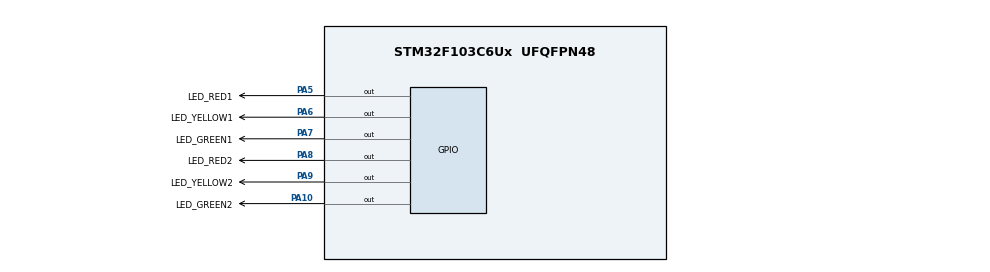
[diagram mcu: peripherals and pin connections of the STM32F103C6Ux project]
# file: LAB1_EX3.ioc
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Mcu.Family=STM32F1
Mcu.Name=STM32F103C6Ux
Mcu.Package=UFQFPN48
NVIC.PriorityGroup=NVIC_PRIORITYGROUP_4
PA10.GPIO_Label=LED_GREEN2
PA10.Signal=GPIO_Output
PA5.GPIO_Label=LED_RED1
PA5.Signal=GPIO_Output
PA6.GPIO_Label=LED_YELLOW1
PA6.Signal=GPIO_Output
PA7.GPIO_Label=LED_GREEN1
PA7.Signal=GPIO_Output
PA8.GPIO_Label=LED_RED2
PA8.Signal=GPIO_Output
PA9.GPIO_Label=LED_YELLOW2
PA9.Signal=GPIO_Output
ProjectManager.HeapSize=0x200
ProjectManager.StackSize=0x400
ProjectManager.TargetToolchain=STM32CubeIDE
RCC.APB1Freq_Value=8000000
RCC.APB2Freq_Value=8000000
VP_SYS_VS_ND.Mode=No_Debug
board=custom

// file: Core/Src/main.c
/* USER CODE BEGIN Header */
/**
  ******************************************************************************
  * @file           : main.c
  * @brief          : Main program body
  ******************************************************************************
  * @attention
  *
  * <h2><center>&copy; Copyright (c) 2024 STMicroelectronics.
  * All rights reserved.</center></h2>
  *
  * This software component is licensed by ST under BSD 3-Clause license,
  * the "License"; You may not use this file except in compliance with the
  * License. You may obtain a copy of the License at:
  *                        opensource.org/licenses/BSD-3-Clause
  *
  ******************************************************************************
  */
/* USER CODE END Header */
#include "main.h"

void SystemClock_Config(void);
static void MX_GPIO_Init(void);

int main(void)
{

  /* MCU Configuration--------------------------------------------------------*/

  /* Reset of all peripherals, Initializes the Flash interface and the Systick. */
  HAL_Init();

  /* Configure the system clock */
  SystemClock_Config();

  /* Initialize all configured peripherals */
  MX_GPIO_Init();

  /* Infinite loop */
  /* USER CODE BEGIN WHILE */
	int count = 0;
  while (1)
  {
		if (count <= 4) {
			HAL_GPIO_WritePin(LED_RED1_GPIO_Port, LED_RED1_Pin, SET);
			HAL_GPIO_WritePin(LED_YELLOW1_GPIO_Port, LED_YELLOW1_Pin, RESET);
			HAL_GPIO_WritePin(LED_GREEN1_GPIO_Port, LED_GREEN1_Pin, RESET);
			if (count < 3) {
				HAL_GPIO_WritePin(LED_RED2_GPIO_Port, LED_RED2_Pin, RESET);
				HAL_GPIO_WritePin(LED_YELLOW2_GPIO_Port, LED_YELLOW2_Pin,
						RESET);
				HAL_GPIO_WritePin(LED_GREEN2_GPIO_Port, LED_GREEN2_Pin, SET);
			} else {
				HAL_GPIO_WritePin(LED_RED2_GPIO_Port, LED_RED2_Pin, RESET);
				HAL_GPIO_WritePin(LED_YELLOW2_GPIO_Port, LED_YELLOW2_Pin, SET);
				HAL_GPIO_WritePin(LED_GREEN2_GPIO_Port, LED_GREEN2_Pin, RESET);
			}
			count++;
		} else if (count > 4 && count < 10) {
			HAL_GPIO_WritePin(LED_RED2_GPIO_Port, LED_RED2_Pin, SET);
			HAL_GPIO_WritePin(LED_YELLOW2_GPIO_Port, LED_YELLOW2_Pin, RESET);
			HAL_GPIO_WritePin(LED_GREEN2_GPIO_Port, LED_GREEN2_Pin, RESET);
			if (count < 7) {
				HAL_GPIO_WritePin(LED_RED1_GPIO_Port, LED_RED1_Pin, RESET);
				HAL_GPIO_WritePin(LED_YELLOW1_GPIO_Port, LED_YELLOW1_Pin, SET);
				HAL_GPIO_WritePin(LED_GREEN1_GPIO_Port, LED_GREEN1_Pin, RESET);
			} else {
				HAL_GPIO_WritePin(LED_RED1_GPIO_Port, LED_RED1_Pin, RESET);
				HAL_GPIO_WritePin(LED_YELLOW1_GPIO_Port, LED_YELLOW1_Pin,
						RESET);
				HAL_GPIO_WritePin(LED_GREEN1_GPIO_Port, LED_GREEN1_Pin, SET);
			}
			count++;
		} else {
			count = 0;
		}
		HAL_Delay(1000);
    /* USER CODE END WHILE */

  }
}

void SystemClock_Config(void)
{
  RCC_OscInitTypeDef RCC_OscInitStruct = {0};
  RCC_ClkInitTypeDef RCC_ClkInitStruct = {0};

  /** Initializes the RCC Oscillators according to the specified parameters
  * in the RCC_OscInitTypeDef structure.
  */
  RCC_OscInitStruct.OscillatorType = RCC_OSCILLATORTYPE_HSI;
  RCC_OscInitStruct.HSIState = RCC_HSI_ON;
  RCC_OscInitStruct.HSICalibrationValue = RCC_HSICALIBRATION_DEFAULT;
  RCC_OscInitStruct.PLL.PLLState = RCC_PLL_NONE;
  if (HAL_RCC_OscConfig(&RCC_OscInitStruct) != HAL_OK)
  {
    Error_Handler();
  }
  /** Initializes the CPU, AHB and APB buses clocks
  */
  RCC_ClkInitStruct.ClockType = RCC_CLOCKTYPE_HCLK|RCC_CLOCKTYPE_SYSCLK
                              |RCC_CLOCKTYPE_PCLK1|RCC_CLOCKTYPE_PCLK2;
  RCC_ClkInitStruct.SYSCLKSource = RCC_SYSCLKSOURCE_HSI;
  RCC_ClkInitStruct.AHBCLKDivider = RCC_SYSCLK_DIV1;
  RCC_ClkInitStruct.APB1CLKDivider = RCC_HCLK_DIV1;
  RCC_ClkInitStruct.APB2CLKDivider = RCC_HCLK_DIV1;

  if (HAL_RCC_ClockConfig(&RCC_ClkInitStruct, FLASH_LATENCY_0) != HAL_OK)
  {
    Error_Handler();
  }
}

static void MX_GPIO_Init(void)
{
  GPIO_InitTypeDef GPIO_InitStruct = {0};

  /* GPIO Ports Clock Enable */
  __HAL_RCC_GPIOA_CLK_ENABLE();

  /*Configure GPIO pin Output Level */
  HAL_GPIO_WritePin(GPIOA, LED_RED1_Pin|LED_YELLOW1_Pin|LED_GREEN1_Pin|LED_RED2_Pin
                          |LED_YELLOW2_Pin|LED_GREEN2_Pin, GPIO_PIN_RESET);

  /*Configure GPIO pins : LED_RED1_Pin LED_YELLOW1_Pin LED_GREEN1_Pin LED_RED2_Pin
                           LED_YELLOW2_Pin LED_GREEN2_Pin */
  GPIO_InitStruct.Pin = LED_RED1_Pin|LED_YELLOW1_Pin|LED_GREEN1_Pin|LED_RED2_Pin
                          |LED_YELLOW2_Pin|LED_GREEN2_Pin;
  GPIO_InitStruct.Mode = GPIO_MODE_OUTPUT_PP;
  GPIO_InitStruct.Pull = GPIO_NOPULL;
  GPIO_InitStruct.Speed = GPIO_SPEED_FREQ_LOW;
  HAL_GPIO_Init(GPIOA, &GPIO_InitStruct);

}

void Error_Handler(void)
{
  __disable_irq();
  while (1)
  {
  }
}

/************************ (C) COPYRIGHT STMicroelectronics *****END OF FILE****/
